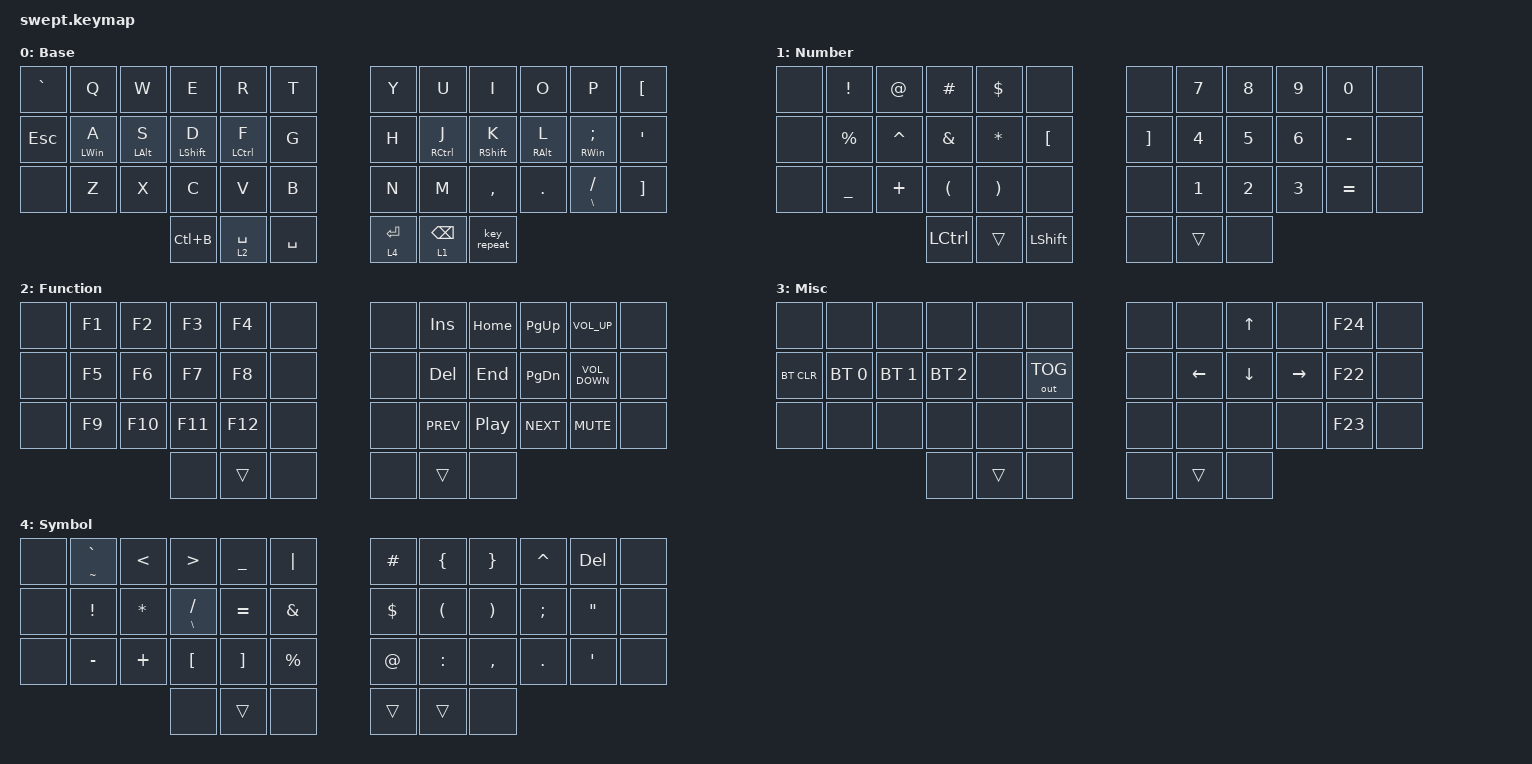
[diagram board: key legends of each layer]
/*
 * Copyright (c) 2020 The ZMK Contributors
 *
 * SPDX-License-Identifier: MIT
 */

#include <behaviors.dtsi>
#include <dt-bindings/zmk/bt.h>
#include <dt-bindings/zmk/keys.h>
#include <dt-bindings/zmk/outputs.h>

/ {
    combos {
        compatible = "zmk,combos";

        Tab {
            bindings = <&kp TAB>;
            key-positions = <12 13>;
        };

        Caps_word {
            bindings = <&caps_word>;
            key-positions = <29 30>;
        };

        Delete {
            bindings = <&kp DELETE>;
            key-positions = <32 33>;
        };

        printscreen {
            bindings = <&kp PRINTSCREEN>;
            key-positions = <22 23>;
        };
    };

    behaviors {
        hml: homerow_mods_left {
            compatible = "zmk,behavior-hold-tap";
            label = "HOMEROW_MODS_LEFT";
            bindings = <&kp>, <&kp>;

            #binding-cells = <2>;
            tapping-term-ms = <230>;
            flavor = "balanced";
            quick-tap-ms = <175>;
            hold-trigger-key-positions = <11 6 7 8 9 10 11 18 19 20 21 22 23 30 31 32 33 34 35 39 40 41>;
            require-prior-idle-ms = <150>;
            hold-trigger-on-release;
        };

        hmr: homerow_mods_right {
            compatible = "zmk,behavior-hold-tap";
            label = "HOMEROW_MODS_RIGHT";
            bindings = <&kp>, <&kp>;

            #binding-cells = <2>;
            tapping-term-ms = <230>;
            quick-tap-ms = <175>;
            hold-trigger-key-positions = <0 1 2 4 5 12 13 14 15 16 17 24 25 26 27 28 29 36 37 38 3>;
            require-prior-idle-ms = <150>;
            flavor = "balanced";
            hold-trigger-on-release;
        };
    };

    keymap {
        compatible = "zmk,keymap";

        Base {
            display-name = "Base";

            // -----------------------------------------------------------------------------------------
            // |  ESC |  Q  |  W  |  E  |  R  |  T  |   |  Y  |  U   |  I  |  O  |  P  |  [  |
            // |  `   |  A  |  S  |  D  |  F  |  G  |   |  H  |  J   |  K  |  L  |  ;  |  '  |
            // | SHFT |  Z  |  X  |  C  |  V  |  B  |   |  N  |  M   |  ,  |  .  |  /  |  ]  |
            //                    |     | LWR | SPC |   | ENT | RSE  | ALT |

            bindings = <
&kp GRAVE   &kp Q            &kp W            &kp E              &kp R         &kp T        &kp Y         &kp U            &kp I               &kp O             &kp P                     &kp LEFT_BRACKET
&kp ESCAPE  &hml LEFT_WIN A  &hml LEFT_ALT S  &hml LEFT_SHIFT D  &hml LCTRL F  &kp G        &kp H         &hmr RCTRL J     &hmr RIGHT_SHIFT K  &hmr RIGHT_ALT L  &hmr RIGHT_WIN SEMICOLON  &kp SINGLE_QUOTE
&none       &kp Z            &kp X            &kp C              &kp V         &kp B        &kp N         &kp M            &kp COMMA           &kp DOT           &mt BACKSLASH SLASH       &kp RIGHT_BRACKET
                                              &kp LC(B)          &lt 2 SPACE   &kp SPACE    &lt 4 RETURN  &lt 1 BACKSPACE  &key_repeat
            >;
        };

        raise {
            display-name = "Number";

            // -----------------------------------------------------------------------------------------
            // |      |     |     | ARU |     |     |   |     |  7  |  8  |  9  |  0  |      |
            // |      |     | ARL | ARD | ARR |  [  |   |  ]  |  4  |  5  |  6  |  -  |      |
            // | CTRL |     |     |     |     |     |   |     |  1  |  2  |  3  |  =  |      |
            //                    |SHFT |     |     |   |     |     |     |

            bindings = <
&none  &kp EXCL        &kp AT_SIGN  &kp POUND             &kp DOLLAR             &none               &none              &kp N7  &kp N8  &kp N9  &kp N0     &none
&none  &kp PERCENT     &kp CARET    &kp AMPERSAND         &kp ASTERISK           &kp LEFT_BRACKET    &kp RIGHT_BRACKET  &kp N4  &kp N5  &kp N6  &kp MINUS  &none
&none  &kp UNDERSCORE  &kp PLUS     &kp LEFT_PARENTHESIS  &kp RIGHT_PARENTHESIS  &none               &none              &kp N1  &kp N2  &kp N3  &kp EQUAL  &none
                                    &kp LCTRL             &trans                 &kp LSHFT           &none              &trans  &none
            >;
        };

        lower {
            display-name = "Function";

            // -----------------------------------------------------------------------------------------
            // |      |  F1 |  F2 |  F3 |  F4 |     |   |     | INS | HOM | PUP | VUP |      |
            // | BTCLR|  F5 |  F6 |  F7 |  F8 | BT0 |   |     | DEL | END | PDN | VDN |      |
            // |      |  F9 | F10 | F11 | F12 |     |   |     | PRV | PPS | FWD | MUT |      |
            //                    |     |     |     |   |     |     |     |

            bindings = <
&none  &kp F1  &kp F2   &kp F3   &kp F4   &none    &none  &kp INSERT  &kp HOME          &kp PAGE_UP    &kp C_VOLUME_UP    &none
&none  &kp F5  &kp F6   &kp F7   &kp F8   &none    &none  &kp DELETE  &kp END           &kp PAGE_DOWN  &kp C_VOLUME_DOWN  &none
&none  &kp F9  &kp F10  &kp F11  &kp F12  &none    &none  &kp C_PREV  &kp C_PLAY_PAUSE  &kp C_NEXT     &kp C_MUTE         &none
                        &none    &trans   &none    &none  &trans      &none
            >;
        };

        both {
            display-name = "Misc";
            bindings = <
&none       &none         &none         &none         &none   &none           &none  &none           &kp UP_ARROW  &none            &kp F24  &none
&bt BT_CLR  &bt BT_SEL 0  &bt BT_SEL 1  &bt BT_SEL 2  &none   &out OUT_TOG    &none  &kp LEFT_ARROW  &kp DOWN      &kp RIGHT_ARROW  &kp F22  &none
&none       &none         &none         &none         &none   &none           &none  &none           &none         &none            &kp F23  &none
                                        &none         &trans  &none           &none  &trans          &none
            >;
        };

        Symbols {
            display-name = "Symbol";
            bindings = <
&none  &mt TILDE GRAVE  &kp LESS_THAN  &kp GREATER_THAN     &kp UNDERSCORE     &kp PIPE         &kp POUND    &kp LEFT_BRACE        &kp RIGHT_BRACE        &kp CARET      &kp DELETE         &none
&none  &kp EXCLAMATION  &kp ASTERISK   &mt BACKSLASH SLASH  &kp EQUAL          &kp AMPERSAND    &kp DOLLAR   &kp LEFT_PARENTHESIS  &kp RIGHT_PARENTHESIS  &kp SEMICOLON  &kp DOUBLE_QUOTES  &none
&none  &kp MINUS        &kp PLUS       &kp LEFT_BRACKET     &kp RIGHT_BRACKET  &kp PERCENT      &kp AT_SIGN  &kp COLON             &kp COMMA              &kp DOT        &kp SINGLE_QUOTE   &none
                                       &none                &trans             &none            &trans       &trans                &none
            >;
        };
    };

    conditional_layers {
        compatible = "zmk,conditional-layers";

        both {
            if-layers = <1 2>;
            then-layer = <3>;
        };
    };
};
